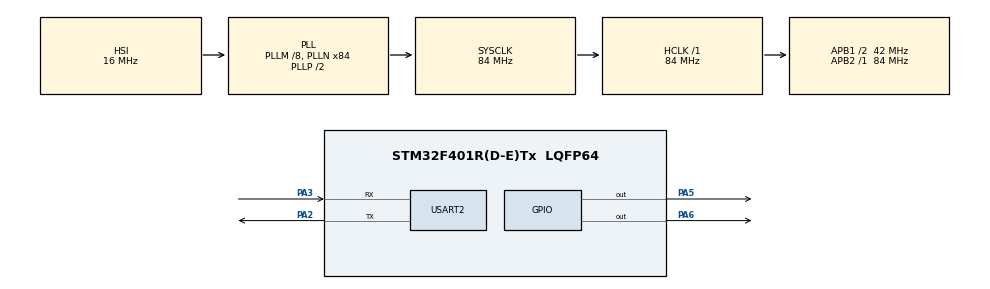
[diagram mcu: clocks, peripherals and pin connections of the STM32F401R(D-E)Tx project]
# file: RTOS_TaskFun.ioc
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FREERTOS.INCLUDE_vTaskDelayUntil=1
FREERTOS.Tasks01=defaultTask,0,128,StartDefaultTask,Default,NULL,Dynamic,NULL,NULL;myTask02,-3,128,StartTask02,Default,NULL,Dynamic,NULL,NULL
Mcu.Family=STM32F4
Mcu.Name=STM32F401R(D-E)Tx
Mcu.Package=LQFP64
NVIC.PriorityGroup=NVIC_PRIORITYGROUP_4
NVIC.TIM3_IRQn=true\:0\:0\:false\:false\:true\:false\:false\:true
NVIC.TimeBase=TIM3_IRQn
NVIC.TimeBaseIP=TIM3
PA13.Mode=Serial_Wire
PA13.Signal=SYS_JTMS-SWDIO
PA14.Mode=Serial_Wire
PA14.Signal=SYS_JTCK-SWCLK
PA2.Mode=Asynchronous
PA2.Signal=USART2_TX
PA3.Mode=Asynchronous
PA3.Signal=USART2_RX
PA5.Signal=GPIO_Output
PA6.Signal=GPIO_Output
PH0\ -\ OSC_IN.Mode=HSE-External-Clock-Source
PH0\ -\ OSC_IN.Signal=RCC_OSC_IN
PH1\ -\ OSC_OUT.Mode=HSE-External-Clock-Source
PH1\ -\ OSC_OUT.Signal=RCC_OSC_OUT
ProjectManager.HeapSize=0x200
ProjectManager.StackSize=0x400
ProjectManager.TargetToolchain=STM32CubeIDE
RCC.48MHZClocksFreq_Value=42000000
RCC.AHBFreq_Value=84000000
RCC.APB1CLKDivider=RCC_HCLK_DIV2
RCC.APB1Freq_Value=42000000
RCC.APB1TimFreq_Value=84000000
RCC.APB2Freq_Value=84000000
RCC.APB2TimFreq_Value=84000000
RCC.CortexFreq_Value=84000000
RCC.HCLKFreq_Value=84000000
RCC.HSE_VALUE=8000000
RCC.HSI_VALUE=16000000
RCC.LSE_VALUE=32768
RCC.PLLM=8
RCC.PLLN=84
RCC.SYSCLKFreq_VALUE=84000000
RCC.SYSCLKSource=RCC_SYSCLKSOURCE_PLLCLK
RCC.VCOOutputFreq_Value=168000000
USART2.VirtualMode=VM_ASYNC
VP_FREERTOS_VS_CMSIS_V1.Mode=CMSIS_V1
VP_SYS_VS_tim3.Mode=TIM3
board=custom

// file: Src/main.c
/* USER CODE BEGIN Header */
/**
  ******************************************************************************
  * @file           : main.c
  * @brief          : Main program body
  ******************************************************************************
  * @attention
  *
  * <h2><center>&copy; Copyright (c) 2021 STMicroelectronics.
  * All rights reserved.</center></h2>
  *
  * This software component is licensed by ST under Ultimate Liberty license
  * SLA0044, the "License"; You may not use this file except in compliance with
  * the License. You may obtain a copy of the License at:
  *                             www.st.com/SLA0044
  *
  ******************************************************************************
  */
/* USER CODE END Header */
#include "main.h"
#include "cmsis_os.h"

#include <stdio.h>

UART_HandleTypeDef huart2;

osThreadId defaultTaskHandle;
osThreadId myTask02Handle;

void SystemClock_Config(void);
static void MX_GPIO_Init(void);
static void MX_USART2_UART_Init(void);
void StartDefaultTask(void const * argument);
void StartTask02(void const * argument);

/* USER CODE BEGIN 0 */
int _write(int file, char *ptr, int len)
{
  /* Implement your write code here, this is used by puts and printf for example */
  int i=0;
  for(i=0 ; i<len ; i++)
    ITM_SendChar((*ptr++));
  return len;
}

int index=0;

/* USER CODE END 0 */

int main(void)
{
  /* USER CODE BEGIN 1 */
	printf("printing...\r\n");

  /* USER CODE END 1 */

  /* MCU Configuration--------------------------------------------------------*/

  /* Reset of all peripherals, Initializes the Flash interface and the Systick. */
  HAL_Init();

  /* Configure the system clock */
  SystemClock_Config();

  /* Initialize all configured peripherals */
  MX_GPIO_Init();
  MX_USART2_UART_Init();

  /* Create the thread(s) */
  /* definition and creation of defaultTask */
  osThreadDef(defaultTask, StartDefaultTask, osPriorityNormal, 0, 128);
  defaultTaskHandle = osThreadCreate(osThread(defaultTask), NULL);

  /* definition and creation of myTask02 */
  osThreadDef(myTask02, StartTask02, osPriorityAboveNormal, 0, 128);
  myTask02Handle = osThreadCreate(osThread(myTask02), NULL);

  /* Start scheduler */
  osKernelStart();

  /* We should never get here as control is now taken by the scheduler */
  /* Infinite loop */
  while (1)
  {

  }
}

void SystemClock_Config(void)
{
  RCC_OscInitTypeDef RCC_OscInitStruct = {0};
  RCC_ClkInitTypeDef RCC_ClkInitStruct = {0};

  /** Configure the main internal regulator output voltage
  */
  __HAL_RCC_PWR_CLK_ENABLE();
  __HAL_PWR_VOLTAGESCALING_CONFIG(PWR_REGULATOR_VOLTAGE_SCALE2);
  /** Initializes the RCC Oscillators according to the specified parameters
  * in the RCC_OscInitTypeDef structure.
  */
  RCC_OscInitStruct.OscillatorType = RCC_OSCILLATORTYPE_HSI;
  RCC_OscInitStruct.HSIState = RCC_HSI_ON;
  RCC_OscInitStruct.HSICalibrationValue = RCC_HSICALIBRATION_DEFAULT;
  RCC_OscInitStruct.PLL.PLLState = RCC_PLL_ON;
  RCC_OscInitStruct.PLL.PLLSource = RCC_PLLSOURCE_HSI;
  RCC_OscInitStruct.PLL.PLLM = 8;
  RCC_OscInitStruct.PLL.PLLN = 84;
  RCC_OscInitStruct.PLL.PLLP = RCC_PLLP_DIV2;
  RCC_OscInitStruct.PLL.PLLQ = 4;
  if (HAL_RCC_OscConfig(&RCC_OscInitStruct) != HAL_OK)
  {
    Error_Handler();
  }
  /** Initializes the CPU, AHB and APB buses clocks
  */
  RCC_ClkInitStruct.ClockType = RCC_CLOCKTYPE_HCLK|RCC_CLOCKTYPE_SYSCLK
                              |RCC_CLOCKTYPE_PCLK1|RCC_CLOCKTYPE_PCLK2;
  RCC_ClkInitStruct.SYSCLKSource = RCC_SYSCLKSOURCE_PLLCLK;
  RCC_ClkInitStruct.AHBCLKDivider = RCC_SYSCLK_DIV1;
  RCC_ClkInitStruct.APB1CLKDivider = RCC_HCLK_DIV2;
  RCC_ClkInitStruct.APB2CLKDivider = RCC_HCLK_DIV1;

  if (HAL_RCC_ClockConfig(&RCC_ClkInitStruct, FLASH_LATENCY_2) != HAL_OK)
  {
    Error_Handler();
  }
}

static void MX_USART2_UART_Init(void)
{

  huart2.Instance = USART2;
  huart2.Init.BaudRate = 115200;
  huart2.Init.WordLength = UART_WORDLENGTH_8B;
  huart2.Init.StopBits = UART_STOPBITS_1;
  huart2.Init.Parity = UART_PARITY_NONE;
  huart2.Init.Mode = UART_MODE_TX_RX;
  huart2.Init.HwFlowCtl = UART_HWCONTROL_NONE;
  huart2.Init.OverSampling = UART_OVERSAMPLING_16;
  if (HAL_UART_Init(&huart2) != HAL_OK)
  {
    Error_Handler();
  }

}

static void MX_GPIO_Init(void)
{
  GPIO_InitTypeDef GPIO_InitStruct = {0};

  /* GPIO Ports Clock Enable */
  __HAL_RCC_GPIOH_CLK_ENABLE();
  __HAL_RCC_GPIOA_CLK_ENABLE();

  /*Configure GPIO pin Output Level */
  HAL_GPIO_WritePin(GPIOA, GPIO_PIN_5|GPIO_PIN_6, GPIO_PIN_RESET);

  /*Configure GPIO pins : PA5 PA6 */
  GPIO_InitStruct.Pin = GPIO_PIN_5|GPIO_PIN_6;
  GPIO_InitStruct.Mode = GPIO_MODE_OUTPUT_PP;
  GPIO_InitStruct.Pull = GPIO_NOPULL;
  GPIO_InitStruct.Speed = GPIO_SPEED_FREQ_LOW;
  HAL_GPIO_Init(GPIOA, &GPIO_InitStruct);

}

void StartDefaultTask(void const * argument)
{
  /* USER CODE BEGIN 5 */
  /* Infinite loop */
  for(;;)
  {
	  printf("Task1\r\n");
    osDelay(1000);
  }
  /* USER CODE END 5 */
}

void StartTask02(void const * argument)
{
  /* USER CODE BEGIN StartTask02 */
  /* Infinite loop */
  for(;;)
  {
	  printf("Task2..  index=%d \r\n",index++);
    osDelay(2000);

  //  if(index==4){
   // 	printf("Task1.. terminating\n ");
   // osThreadTerminate(defaultTaskHandle);
  //  }

   // if(index==7){
    //   	printf("Task1.. resume \n");
   //     osThreadResume(defaultTaskHandle);
     //  }

    if(index==3){

    	uint32_t privioustime= osKernelSysTick();
    	printf("Task2.. blocking for 8 sec \n");
    	osDelayUntil(&privioustime, 8000);
    }

  }
  /* USER CODE END StartTask02 */
}

 /**
  * @brief  Period elapsed callback in non blocking mode
  * @note   This function is called  when TIM3 interrupt took place, inside
  * HAL_TIM_IRQHandler(). It makes a direct call to HAL_IncTick() to increment
  * a global variable "uwTick" used as application time base.
  * @param  htim : TIM handle
  * @retval None
  */
void HAL_TIM_PeriodElapsedCallback(TIM_HandleTypeDef *htim)
{
  if (htim->Instance == TIM3) {
    HAL_IncTick();
  }
}

void Error_Handler(void)
{
  __disable_irq();
  while (1)
  {
  }
}

/************************ (C) COPYRIGHT STMicroelectronics *****END OF FILE****/
